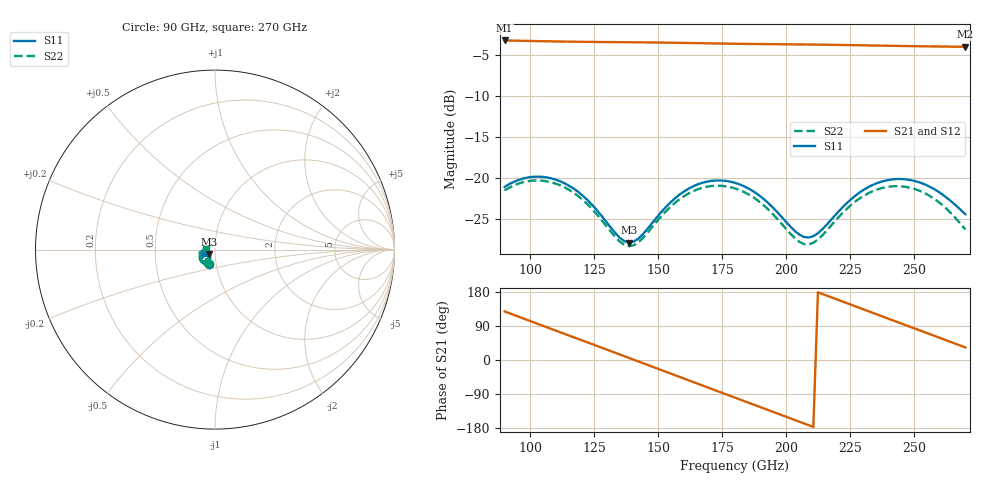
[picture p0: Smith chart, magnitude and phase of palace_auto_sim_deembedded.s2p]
! Created with skrf 1.11.0 (http://scikit-rf.org).
# GHz S DB R 50.0
!freq dBS11 angS11 dBS21 angS21 dBS12 angS12 dBS22 angS22
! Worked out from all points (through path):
!   101 points, 90 GHz to 270 GHz, reference 50 ohm
!   highest |S21| = -3.23 dB at 90 GHz (marker M1); lowest = -4.0 dB at 270 GHz (marker M2)
!   group delay of S21, straight-line fit = 7.02 ps
!   lowest |S11| = -27.9 dB at 138.6 GHz (marker M3), VSWR 1.08, Z = 46.8 - j2.27 ohm
!   |S11| at or under -10 dB: start of sweep to end of sweep
!   |S22| runs from -28.4 to -20.3 dB; largest |S21 - S12| = 1.2e-13
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90  -21.13 -113.9  -3.23 128.1  -3.23 128.1  -21.56 -117.9
97.2  -20.11 -125.6  -3.27 109.9  -3.27 109.9  -20.56 -130.1
104.4  -19.89 -138.3  -3.32 91.7  -3.32 91.7  -20.36 -143.3
111.6  -20.43 -150.4  -3.36 73.6  -3.36 73.6  -20.92 -155.9
120.6  -22.22 -162.4  -3.39 50.9  -3.39 50.9  -22.73 -168.5
129.6  -25.35 -164.6  -3.42 28.2  -3.42 28.2  -25.86 -171.1
138.6  -27.93 -142.9  -3.44 5.5  -3.44 5.5  -28.38 -150.3
151.2  -24.20 -118.6  -3.49 -26.5  -3.49 -26.5  -24.72 -127.6
165.6  -20.80 -131.9  -3.56 -63.0  -3.56 -63.0  -21.40 -142.0
172.8  -20.34 -142.5  -3.59 -81.2  -3.59 -81.2  -20.98 -153.1
180  -20.63 -153.0  -3.63 -99.4  -3.63 -99.4  -21.31 -164.3
187.2  -21.68 -162.0  -3.66 -117.5  -3.66 -117.5  -22.41 -173.8
196.2  -24.11 -167.0  -3.69 -140.2  -3.69 -140.2  -24.93 -179.3
205.2  -26.98 -154.5  -3.71 -163.0  -3.71 -163.0  -27.86 -166.6
210.6  -27.16 -137.9  -3.73 -176.7  -3.73 -176.7  -27.96 -149.9
217.8  -25.07 -123.7  -3.76 165.0  -3.76 165.0  -25.76 -136.6
225  -22.73 -123.1  -3.79 146.8  -3.79 146.8  -23.43 -137.2
234  -20.86 -131.5  -3.84 124.0  -3.84 124.0  -21.63 -146.8
241.2  -20.22 -140.8  -3.88 105.8  -3.88 105.8  -21.06 -157.2
248.4  -20.28 -150.5  -3.92 87.6  -3.92 87.6  -21.23 -168.0
255.6  -21.03 -159.1  -3.95 69.5  -3.95 69.5  -22.14 -177.6
270  -24.47 -163.6  -4.00 33.1  -4.00 33.1  -26.33 177.1
